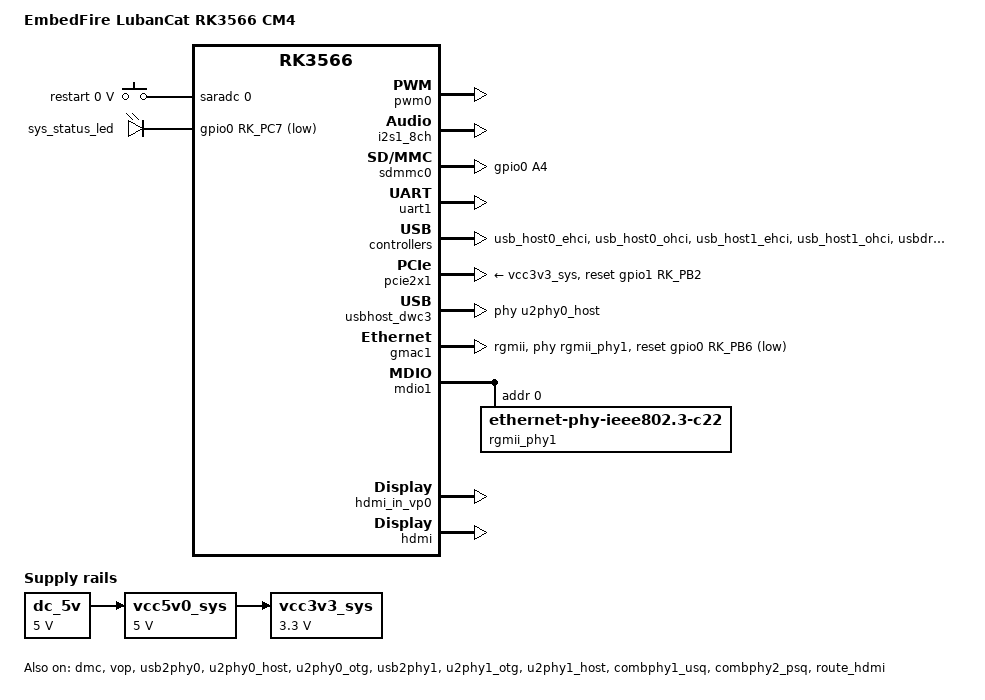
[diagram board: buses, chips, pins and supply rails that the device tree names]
// SPDX-License-Identifier: (GPL-2.0+ OR MIT)
/*
 * Copyright (c) 2020 Rockchip Electronics Co., Ltd.
 *
 */

 /dts-v1/;

#include <dt-bindings/gpio/gpio.h>
#include <dt-bindings/pwm/pwm.h>
#include <dt-bindings/pinctrl/rockchip.h>
#include <dt-bindings/input/rk-input.h>
#include <dt-bindings/display/drm_mipi_dsi.h>
#include <dt-bindings/sensor-dev.h>
#include <dt-bindings/phy/jlsemi-dt-phy.h>
#include "rk3566.dtsi"
#include "rk3566-lubancat.dtsi"

/ {
	model = "EmbedFire LubanCat RK3566 CM4";
	compatible = "embedfire,rk3566-lubancat-cm4", "rockchip,rk3566";

	adc_keys: adc-keys {
		compatible = "adc-keys";
		io-channels = <&saradc 0>;
		io-channel-names = "buttons";
		keyup-threshold-microvolt = <1800000>;
		poll-interval = <100>;

		restart-key {
			label = "restart";
			linux,code = <KEY_RESTART>;
			press-threshold-microvolt = <9>;
		};
	};


	leds: leds {
		status = "okay";
		compatible = "gpio-leds";

		sys_status_led: sys-status-led {
			label = "sys_status_led";
			linux,default-trigger = "heartbeat";
			default-state = "on";
			gpios = <&gpio0 RK_PC7 GPIO_ACTIVE_LOW>;
			pinctrl-names = "default";
			pinctrl-0 = <&sys_status_led_pin>;
		};
	};

	dc_5v: dc-5v {
		compatible = "regulator-fixed";
		regulator-name = "dc_5v";
		regulator-always-on;
		regulator-boot-on;
		regulator-min-microvolt = <5000000>;
		regulator-max-microvolt = <5000000>;
	};

	vcc5v0_sys: vcc5v0-sys {
		compatible = "regulator-fixed";
		regulator-name = "vcc5v0_sys";
		regulator-always-on;
		regulator-boot-on;
		regulator-min-microvolt = <5000000>;
		regulator-max-microvolt = <5000000>;
		vin-supply = <&dc_5v>;
	};

	vcc3v3_sys: vcc3v3-sys {
		compatible = "regulator-fixed";
		regulator-name = "vcc3v3_sys";
		regulator-always-on;
		regulator-boot-on;
		regulator-min-microvolt = <3300000>;
		regulator-max-microvolt = <3300000>;
		vin-supply = <&vcc5v0_sys>;
	};

	// sdio_pwrseq: sdio-pwrseq {
	//     compatible = "mmc-pwrseq-simple";
	//     clocks = <&rk809 1>;
	//     clock-names = "ext_clock";
	//     pinctrl-names = "default";
	//     pinctrl-0 = <&wifi_enable_h>;
	//     post-power-on-delay-ms = <200>;
	//     reset-gpios = <&gpio3 RK_PD5 GPIO_ACTIVE_LOW>;
	// };

	// wireless_wlan: wireless-wlan {
	//     compatible = "wlan-platdata";
	//     rockchip,grf = <&grf>;
	//     //wifi_chip_type = "ap6398s";
	//     wifi_chip_type = "ap6256";

	//     status = "okay";
	// };

	// wireless_bluetooth: wireless-bluetooth {
	//     compatible = "bluetooth-platdata";
	//     clocks = <&rk809 1>;
	//     clock-names = "ext_clock";
	//     //wifi-bt-power-toggle;
	//     //uart_rts_gpios = <&gpio2 RK_PB1 GPIO_ACTIVE_LOW>;
	//     pinctrl-names = "default", "rts_gpio";
	//     pinctrl-0 = <&uart8m0_rtsn>;
	//     pinctrl-1 = <&uart8_gpios>;
	//     //BT,reset_gpio    = <&gpio3 RK_PA0 GPIO_ACTIVE_HIGH>;
	//     //BT,wake_gpio     = <&gpio3 RK_PA1 GPIO_ACTIVE_HIGH>;
	//     //BT,wake_host_irq = <&gpio3 RK_PA2 GPIO_ACTIVE_HIGH>;
	//     status = "okay";
	// };

	// bt_uart1: wireless_bluetooth: wireless-bluetooth {
	// 	compatible = "bluetooth-platdata";
	// 	clocks = <&rk809 1>;
	// 	clock-names = "ext_clock";
	// 	//wifi-bt-power-toggle;
	// 	uart_rts_gpios = <&gpio2 RK_PB1 GPIO_ACTIVE_LOW>;
	// 	pinctrl-names = "default", "rts_gpio";
	// 	pinctrl-0 = <&uart1m0_rtsn>;
	// 	pinctrl-1 = <&uart1_gpios>;
	// 	BT,reset_gpio    = <&gpio4 RK_PB2 GPIO_ACTIVE_HIGH>;	//BT_REG_ON_H
	// 	BT,wake_gpio     = <&gpio4 RK_PB5 GPIO_ACTIVE_HIGH>;	//HOST_WAKE_BT_H
	// 	BT,wake_host_irq = <&gpio4 RK_PB4 GPIO_ACTIVE_HIGH>;	//BT_WAKE_HOST_H
	// 	status = "okay";
	// };
};

// &sdmmc1 {
// 	max-frequency = <150000000>;
// 	supports-sdio;
// 	bus-width = <4>;
// 	disable-wp;
// 	cap-sd-highspeed;
// 	cap-sdio-irq;
// 	keep-power-in-suspend;
// 	mmc-pwrseq = <&sdio_pwrseq>;
// 	non-removable;
// 	pinctrl-names = "default";
// 	pinctrl-0 = <&sdmmc1_bus4 &sdmmc1_cmd &sdmmc1_clk>;
// 	sd-uhs-sdr104;
// 	status = "okay";
// };

&pwm0 {
	status = "okay";
	pinctrl-0 = <&pwm0m1_pins>;
};

&dmc {
	system-status-freq = <
		/*system status         freq(KHz)*/
		SYS_STATUS_NORMAL       780000
		SYS_STATUS_REBOOT       1056000
		SYS_STATUS_SUSPEND      324000
		SYS_STATUS_VIDEO_1080P  528000
		SYS_STATUS_BOOST        1056000
		SYS_STATUS_ISP          1056000
		SYS_STATUS_PERFORMANCE  1056000
	>;
	center-supply = <&vdd_logic>;
	status = "okay";
};

&dmc_opp_table {
	opp-324000000 {
		opp-hz = /bits/ 64 <324000000>;
		opp-microvolt = <875000>;
		opp-microvolt-L0 = <875000>;
		opp-microvolt-L1 = <850000>;
	};

	opp-528000000 {
		opp-hz = /bits/ 64 <528000000>;
		opp-microvolt = <875000>;
		opp-microvolt-L0 = <875000>;
		opp-microvolt-L1 = <850000>;
	};

	opp-528000000 {
		opp-hz = /bits/ 64 <780000000>;
		opp-microvolt = <875000>;
		opp-microvolt-L0 = <875000>;
		opp-microvolt-L1 = <850000>;
	};

	opp-1056000000 {
		opp-hz = /bits/ 64 <1056000000>;
		opp-microvolt = <900000>;
		opp-microvolt-L0 = <900000>;
		opp-microvolt-L1 = <850000>;
	};
};


&i2s1_8ch {
	status = "okay";
	rockchip,clk-trcm = <1>;
	pinctrl-names = "default";
	pinctrl-0 = <&i2s1m0_sclktx
			 &i2s1m0_lrcktx
			 &i2s1m0_sdi0
			 &i2s1m0_sdo0>;
};

&pmu_io_domains {
	status = "okay";
	pmuio2-supply = <&vcc3v3_pmu>;
	vccio1-supply = <&vccio_acodec>;
	vccio3-supply = <&vccio_sd>;
	vccio4-supply = <&vcc_3v3>;
	vccio5-supply = <&vcc_3v3>;
	vccio6-supply = <&vcc_3v3>;
	vccio7-supply = <&vcc_3v3>;
};

&sdmmc0 {
	pinctrl-names = "default";
	pinctrl-0 = <&sdmmc0_bus4 &sdmmc0_clk &sdmmc0_cmd &sdmmc_det>;
	status = "okay";
};

&uart1 {
	status = "okay";
	pinctrl-names = "default";
	pinctrl-0 = <&uart1m0_xfer &uart1m0_ctsn>;
};

&vop {
	status = "okay";
	assigned-clocks = <&cru DCLK_VOP0>, <&cru DCLK_VOP1>;
	assigned-clock-parents = <&pmucru PLL_HPLL>, <&cru PLL_VPLL>;
};

&vop_mmu {
	status = "okay";
};

/* USB OTG/USB Host_1 USB 2.0 Comb */
&usb2phy0 {
	status = "okay";
};

&u2phy0_host {
	status = "okay";
};

&u2phy0_otg {
	status = "okay";
};

&usb_host0_ehci {
	status = "okay";
};

&usb_host0_ohci {
	status = "okay";
};

/* USB Host_2/USB Host_3 USB 2.0 Comb */
&usb2phy1 {
	status = "okay";
};

&u2phy1_otg {
	status = "okay";
};

&u2phy1_host {
	status = "okay";
};

&usb_host1_ehci {
	status = "okay";
};

&usb_host1_ohci {
	status = "okay";
};

/* USB3.0 OTG Only USB2.0 */
&usbdrd30 {
	status = "okay";
};

&usbdrd_dwc3 {
	status = "okay";
};

/* USB3.0 Host to USB2.0 only */
&combphy1_usq {
	rockchip,dis-u3otg1-port; /* 配置 dwc3_1 控制器最高支持 high speed */
	status = "okay";
};

&usbhost30 {
	status = "okay";
};

&combphy2_psq {
	status = "okay";
};

&pcie2x1 {
	reset-gpios = <&gpio1 RK_PB2 GPIO_ACTIVE_HIGH>;
	vpcie3v3-supply = <&vcc3v3_sys>;
	status = "okay";
};

&usbhost_dwc3 {
	phys = <&u2phy0_host>; /* 配置 phys 属性只引用 usb 2.0 phy 节点 */
	phy-names = "usb2-phy";
	maximum-speed = "high-speed"; /* 配置 dwc3 控制器最高支持 high speed */
	status = "okay";
};

&gmac1 {
	phy-mode = "rgmii";
	clock_in_out = "output";

	snps,reset-gpio = <&gpio0 RK_PB6 GPIO_ACTIVE_LOW>;
	snps,reset-active-low;
	/* Reset time is 100ms, 100ms */
	snps,reset-delays-us = <0 100000 100000>;

	assigned-clocks = <&cru SCLK_GMAC1_RX_TX>, <&cru SCLK_GMAC1>;
	assigned-clock-parents = <&cru SCLK_GMAC1_RGMII_SPEED>, <&cru CLK_MAC1_2TOP>;
	assigned-clock-rates = <0>, <125000000>;

	pinctrl-names = "default";
	pinctrl-0 = <&gmac1m1_miim
			 &gmac1m1_tx_bus2_level3
			 &gmac1m1_rx_bus2
			 &gmac1m1_rgmii_clk_level2
			 &gmac1m1_rgmii_bus_level3>;

	tx_delay = <0x16>;
	rx_delay = <0x0a>;

	phy-handle = <&rgmii_phy1>;
	status = "okay";
};

&mdio1 {
	rgmii_phy1: phy@0 {
		compatible = "ethernet-phy-ieee802.3-c22";
		reg = <0x0>;
		jl2xxx,led-enable = <(JL2XXX_LED_STATIC_OP_EN | JL1XXX_LED_MODE_EN)>;
		jl2xxx,led-mode = <(JL2XXX_LED1_LINK10  | \
				 JL2XXX_LED1_LINK100  | \
				 JL2XXX_LED1_LINK1000 | \
				 JL2XXX_LED2_LINK10   | \
				 JL2XXX_LED2_LINK100  | \
				 JL2XXX_LED2_LINK1000 | \
				 JL2XXX_LED2_ACTIVITY )>;
	};
};

&route_hdmi {
	status = "okay";
	connect = <&vp0_out_hdmi>;
};

&hdmi_in_vp0 {
	status = "okay";
};

&hdmi_in_vp1 {
	status = "disabled";
};

&hdmi {
	status = "okay";
};

&pinctrl {
	leds {
		sys_status_led_pin: sys-status-led-pin {
			rockchip,pins = <0 RK_PC7 RK_FUNC_GPIO &pcfg_pull_none>;
		};
	};

	sdio-pwrseq {
		wifi_enable_h: wifi-enable-h {
			rockchip,pins = <0 RK_PC4 RK_FUNC_GPIO &pcfg_pull_none>;
		};
	};

	wireless-wlan {
		wifi_host_wake_irq: wifi-host-wake-irq {
			rockchip,pins = <0 RK_PC6 RK_FUNC_GPIO &pcfg_pull_down>;
		};
	};

	wireless-bluetooth {
		uart1_gpios: uart1-gpios {
			rockchip,pins = <2 RK_PB5 RK_FUNC_GPIO &pcfg_pull_none>;
		};
	};

	sdmmc {
		sdmmc_det: sdmmc-det {
			rockchip,pins =
				/* sdmmc0_det */
				<0 RK_PA4 1 &pcfg_pull_down>;
		};
	};
};
